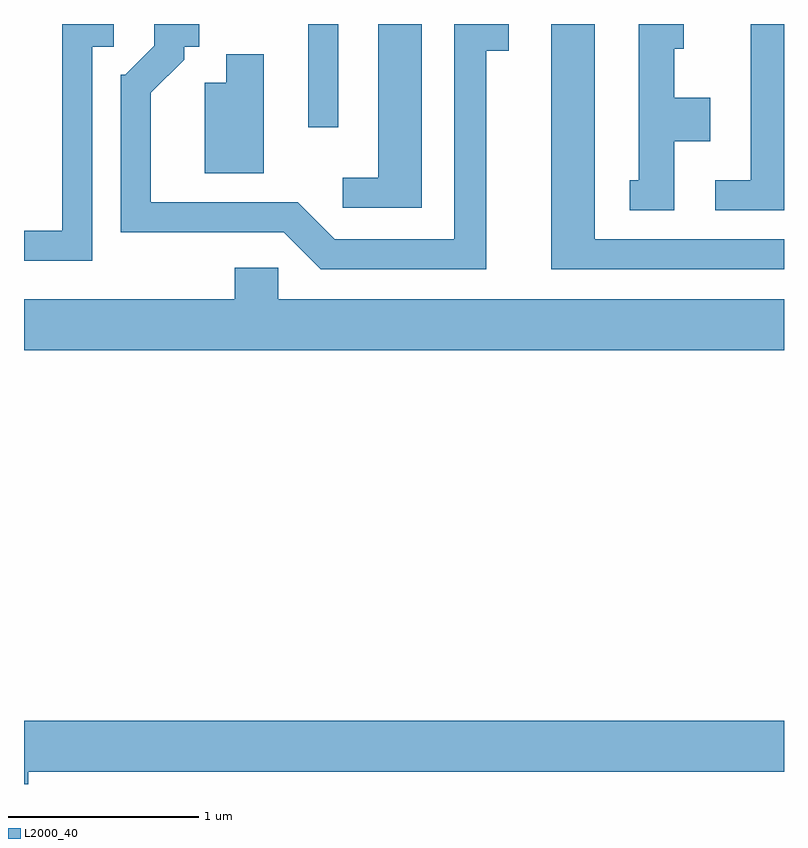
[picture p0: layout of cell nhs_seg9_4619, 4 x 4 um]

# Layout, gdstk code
import gdstk
lib = gdstk.Library(unit=1e-6, precision=1e-09)
def R(c, l, rs):  # rectangles x0, y0, x1, y1
    for r in rs: c.add(gdstk.rectangle(r[:2], r[2:], *l))
def P(c, l, *ps):  # polygons
    for p in ps: c.add(gdstk.Polygon(p, *l))
L2000_40 = (2000, 40)

nhs_seg9_4619 = lib.new_cell('nhs_seg9_4619')
R(nhs_seg9_4619, L2000_40, [(323.106,1981.888,323.264,1982.432)])
P(nhs_seg9_4619, L2000_40, [(321.969,1982.311),(322.083,1982.311),(322.083,1982.432),(321.811,1982.432),(321.811,1981.344),(321.611,1981.344),(321.611,1981.186),(321.969,1981.186)],
  [(325.611,1981.299),(324.614,1981.299),(324.614,1982.432),(324.386,1982.432),(324.386,1981.141),(325.611,1981.141)],
  [(324.044,1982.291),(324.163,1982.291),(324.163,1982.432),(323.876,1982.432),(323.876,1981.299),(323.247,1981.299),(323.052,1981.494),(322.279,1981.494),(322.279,1982.069),(322.454,1982.244),(322.454,1982.311),(322.533,1982.311),(322.533,1982.432),(322.296,1982.432),(322.296,1982.317),(322.144,1982.164),(322.121,1982.164),(322.121,1981.336),(322.979,1981.336),(323.174,1981.141),(324.044,1981.141)],
  [(325.034,1981.816),(325.224,1981.816),(325.224,1982.044),(325.034,1982.044),(325.034,1982.301),(325.083,1982.301),(325.083,1982.432),(324.846,1982.432),(324.846,1981.609),(324.798,1981.609),(324.798,1981.451),(325.034,1981.451)],
  [(325.611,1982.432),(325.436,1982.432),(325.436,1981.609),(325.248,1981.609),(325.248,1981.451),(325.611,1981.451)],
  [(323.704,1982.432),(323.476,1982.432),(323.476,1981.624),(323.288,1981.624),(323.288,1981.466),(323.704,1981.466)],
  [(322.874,1982.274),(322.676,1982.274),(322.676,1982.124),(322.561,1982.124),(322.561,1981.646),(322.874,1981.646)],
  [(322.721,1981.149),(322.721,1980.984),(321.611,1980.984),(321.611,1980.716),(325.611,1980.716),(325.611,1980.984),(322.949,1980.984),(322.949,1981.149)],
  [(321.634,1978.496),(325.611,1978.496),(325.611,1978.764),(321.611,1978.764),(321.611,1978.432),(321.634,1978.432)])

lib.write_gds('nhs_seg9_4619.gds')
